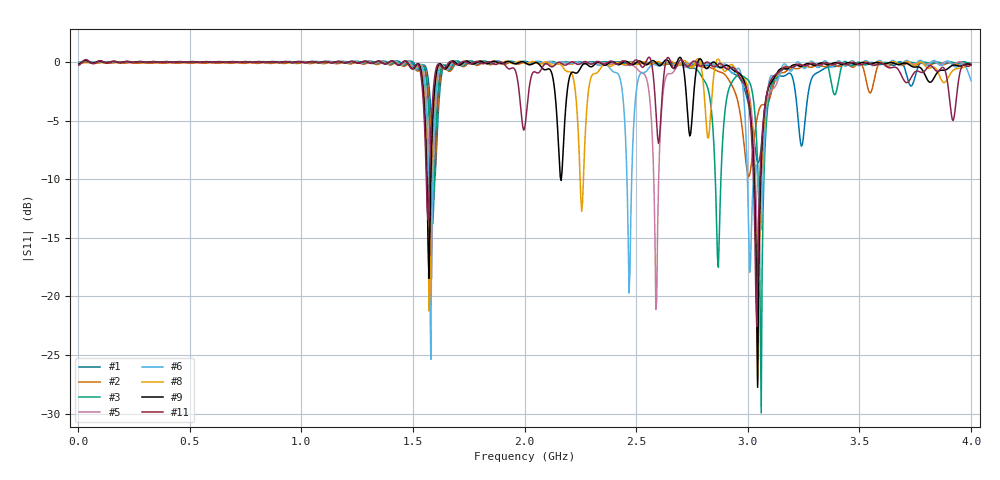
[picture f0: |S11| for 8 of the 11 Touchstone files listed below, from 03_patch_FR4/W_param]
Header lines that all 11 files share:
! TOUCHSTONE file generated by CST MICROWAVE STUDIO
! Project name: AppElm_antenne_patch_FR4.cst
! Header version: 2018
! Port assignment regex: !\s*Touchstone port\s*([0-9]+)\s*=\s*(CST MWS port|CST DS port)\s*([0-9]+|Zmin|Zmax)\s*\(\"(.*)\"\)(\s*mode\s*([0-9]+))?.*
! Touchstone port assignment:
! Touchstone port 1 = CST MWS port 1 ("")
# GHz S MA R 50
Fixed: L = 45, e = 0.035, h = 1.6, lambda = 0.190476, ls = 120, w0 = 2.54, w1 = 0.847, ws = 120, y0 = 18, y1 = 23.8
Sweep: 4 MHz to 4 GHz
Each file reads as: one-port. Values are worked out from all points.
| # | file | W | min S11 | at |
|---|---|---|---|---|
| 1 | AppElm_antenne_patch_FR4_1.s1p | 43.875 | -9.9 dB | 1.596 GHz |
| 2 | AppElm_antenne_patch_FR4_2.s1p | 46.8 | -11.8 dB | 1.592 GHz |
| 3 | AppElm_antenne_patch_FR4_3.s1p | 49.725 | -29.9 dB | 3.06 GHz |
| 4 | AppElm_antenne_patch_FR4_4.s1p | 52.65 | -22.2 dB | 2.724 GHz |
| 5 | AppElm_antenne_patch_FR4_5.s1p | 55.575 | -21.1 dB | 2.588 GHz |
| 6 | AppElm_antenne_patch_FR4_6.s1p | 58.5 | -25.4 dB | 1.58 GHz |
| 7 | AppElm_antenne_patch_FR4_7.s1p | 61.425 | -35.7 dB | 1.576 GHz |
| 8 | AppElm_antenne_patch_FR4_8.s1p | 64.35 | -27.3 dB | 3.044 GHz |
| 9 | AppElm_antenne_patch_FR4_9.s1p | 67.275 | -27.7 dB | 3.044 GHz |
| 10 | AppElm_antenne_patch_FR4_10.s1p | 70.2 | -26.3 dB | 3.04 GHz |
| 11 | AppElm_antenne_patch_FR4_11.s1p | 73.125 | -22.6 dB | 3.04 GHz |
